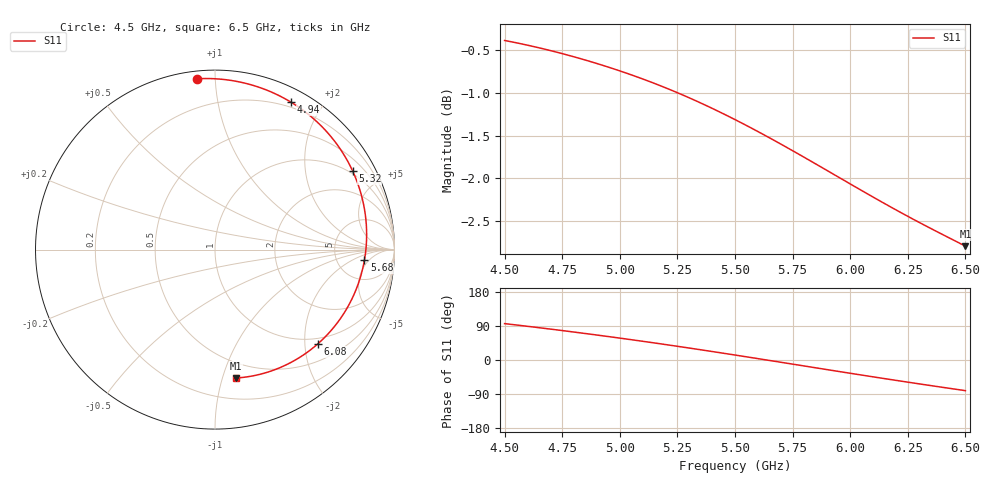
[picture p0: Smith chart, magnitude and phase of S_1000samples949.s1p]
! TOUCHSTONE file generated by CST MICROWAVE STUDIO
! Date and time: Sat Oct 29 21:44:02 2022
! Project name: L.cst
! Parameters = {Di=1.27; Epsilon_r=1.56; InnerDiameter=1.27; Length=2; Lf=10; Lg=60; OuterConductorThickness=0.2921; OuterDiameter=3.6; Wf=3; Wp=41.2; de=1.5; df=6.8; g=0.8; gx=1.66258; gy=4.91173; h=2.34; hf=1.524; px=8.97719; py=13.3209; w=9.7; wx=7.3146; wy=8.40921}
! Header version: 2018
! Port assignment regex: !\s*Touchstone port\s*([0-9]+)\s*=\s*(CST MWS port|CST DS port)\s*([0-9]+|Zmin|Zmax)\s*\(\"(.*)\"\)(\s*mode\s*([0-9]+))?.*
! Touchstone port assignment:
! Touchstone port 1 = CST MWS port 1 ("")
# GHz S DB R 50
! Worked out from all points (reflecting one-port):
!   101 points, 4.5 GHz to 6.5 GHz, reference 50 ohm
!   lowest |S11| = -2.8 dB at 6.5 GHz (marker M1), VSWR 6.26, Z = 18.3 - j55.2 ohm
!   phase of S11 starts at 96 deg and turns -177 deg over the sweep
!   S11 on the Smith chart (normalised r, x): 4.5 GHz: 0.04, +0.90; 4.94 GHz: 0.15, +1.63; 5.32 GHz: 0.89, +3.55; 5.68 GHz: 10, -4; 6.08 GHz: 0.86, -2.29; 6.5 GHz: 0.37, -1.10
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4.5  -0.38 96.0
4.58  -0.43 90.3
4.64  -0.46 85.9
4.7  -0.50 81.5
4.76  -0.54 76.9
4.86  -0.62 69.1
4.94  -0.69 62.7
5  -0.74 57.8
5.06  -0.80 52.7
5.12  -0.86 47.6
5.2  -0.94 40.6
5.26  -1.01 35.3
5.32  -1.08 29.8
5.42  -1.20 20.6
5.5  -1.31 13.1
5.58  -1.42 5.5
5.68  -1.57 -4.1
5.76  -1.69 -11.9
5.82  -1.79 -17.7
5.88  -1.88 -23.5
6  -2.07 -35.0
6.08  -2.19 -42.6
6.18  -2.34 -52.0
6.26  -2.46 -59.4
6.32  -2.55 -64.8
6.38  -2.63 -70.2
6.44  -2.72 -75.6
6.5  -2.80 -80.9
